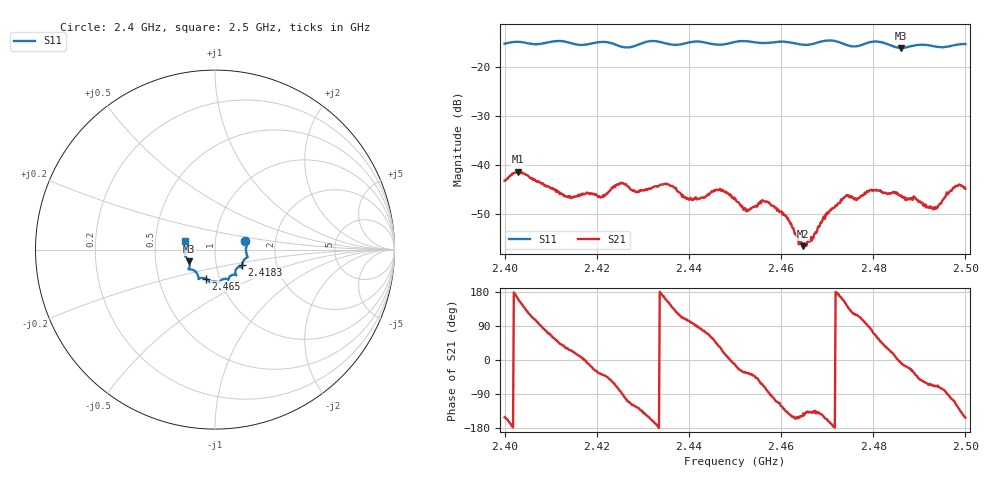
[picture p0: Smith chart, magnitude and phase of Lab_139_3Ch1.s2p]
# Hz S RI R 50
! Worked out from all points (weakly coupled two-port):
!   601 points, 2.4 GHz to 2.5 GHz, reference 50 ohm
!   highest |S21| = -41.37 dB at 2.4028 GHz (marker M1); lowest = -56.6 dB at 2.4648 GHz (marker M2)
!   lowest |S11| = -16.0 dB at 2.486 GHz (marker M3), VSWR 1.38, Z = 37.1 - j5 ohm
!   |S11| at or under -10 dB: start of sweep to end of sweep
!   S12 and S22 are empty: the file has one direction only
!   S11 on the Smith chart (normalised r, x): 2.4 GHz: 1.40, +0.13; 2.4183 GHz: 1.33, -0.24; 2.465 GHz: 0.86, -0.29; 2.5 GHz: 0.71, +0.07
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2.4e9  0.169 0.0458  -0.00603 -0.00336  0 0  0 0
2.402833e9  0.1797 0.0331  -0.00817 0.00251  0 0  0 0
2.413333e9  0.1769 -0.0448  0.00407 0.00241  0 0  0 0
2.416667e9  0.1553 -0.0684  0.00503 0.000597  0 0  0 0
2.418333e9  0.1501 -0.0871  0.00501 -0.00102  0 0  0 0
2.425333e9  0.1309 -0.0973  0.000374 -0.00644  0 0  0 0
2.433333e9  0.1169 -0.1416  -0.00607 -0.000366  0 0  0 0
2.440333e9  0.0753 -0.1651  -0.000733 0.00456  0 0  0 0
2.446333e9  0.0499 -0.1634  0.00434 0.00339  0 0  0 0
2.45e9  0.0252 -0.1807  0.00435 -0.00095  0 0  0 0
2.4525e9  0.02 -0.1843  0.00277 -0.00188  0 0  0 0
2.457333e9  -0.0126 -0.1779  0.000263 -0.00415  0 0  0 0
2.461e9  -0.0303 -0.1802  -0.00215 -0.00215  0 0  0 0
2.464833e9  -0.051 -0.1629  -0.00114 -0.000932  0 0  0 0
2.465e9  -0.0527 -0.1621  -0.00131 -0.000878  0 0  0 0
2.466667e9  -0.0713 -0.1576  -0.00124 -0.00114  0 0  0 0
2.474e9  -0.0957 -0.1422  -0.0041 0.0024  0 0  0 0
2.483333e9  -0.1418 -0.0962  0.0045 0.00241  0 0  0 0
2.486e9  -0.1439 -0.0657  0.00472 -0.000628  0 0  0 0
2.4935e9  -0.1628 -0.014  0.00133 -0.00328  0 0  0 0
2.497833e9  -0.1663 0.0348  -0.00259 -0.00551  0 0  0 0
2.5e9  -0.1668 0.047  -0.00503 -0.00269  0 0  0 0
